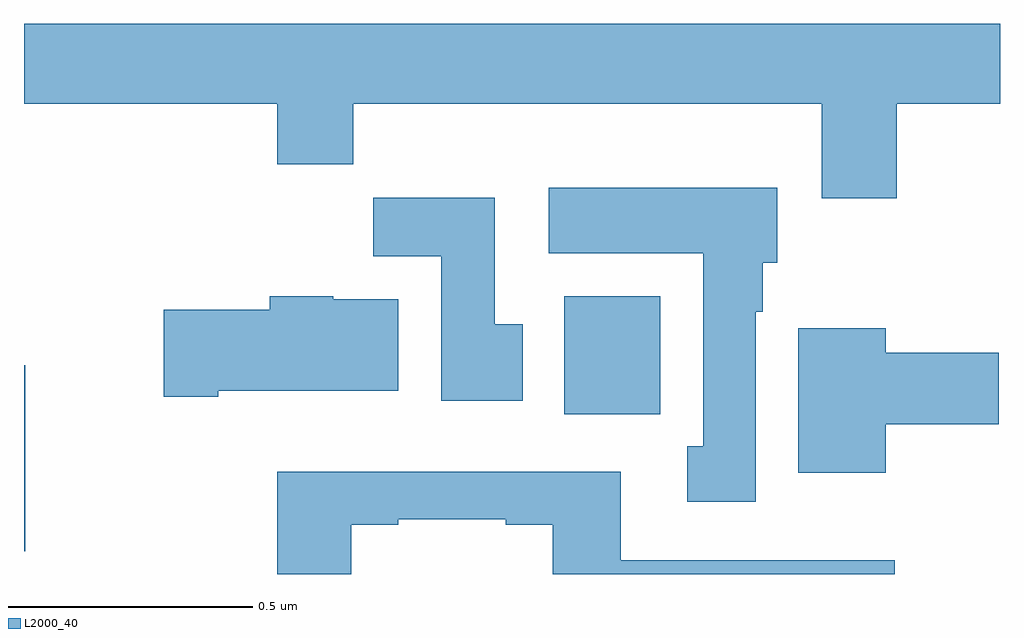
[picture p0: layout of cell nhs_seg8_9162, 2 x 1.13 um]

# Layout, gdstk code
import gdstk
lib = gdstk.Library(unit=1e-6, precision=1e-09)
def R(c, l, rs):  # rectangles x0, y0, x1, y1
    for r in rs: c.add(gdstk.rectangle(r[:2], r[2:], *l))
def P(c, l, *ps):  # polygons
    for p in ps: c.add(gdstk.Polygon(p, *l))
L2000_40 = (2000, 40)

nhs_seg8_9162 = lib.new_cell('nhs_seg8_9162')
R(nhs_seg8_9162, L2000_40, [(233,1084.947,233.003,1085.328), (234.107,1085.228,234.304,1085.47)])
P(nhs_seg8_9162, L2000_40, [(234.788,1085.864),(235,1085.864),(235,1086.028),(233,1086.028),(233,1085.864),(233.519,1085.864),(233.519,1085.74),(233.675,1085.74),(233.675,1085.864),(234.635,1085.864),(234.635,1085.67),(234.788,1085.67)],
  [(234.499,1085.438),(234.514,1085.438),(234.514,1085.538),(234.544,1085.538),(234.544,1085.692),(234.075,1085.692),(234.075,1085.558),(234.392,1085.558),(234.392,1085.162),(234.359,1085.162),(234.359,1085.049),(234.499,1085.049)],
  [(234.022,1085.412),(233.965,1085.412),(233.965,1085.671),(233.716,1085.671),(233.716,1085.552),(233.855,1085.552),(233.855,1085.256),(234.022,1085.256)],
  [(233.398,1085.276),(233.767,1085.276),(233.767,1085.464),(233.634,1085.464),(233.634,1085.47),(233.504,1085.47),(233.504,1085.442),(233.286,1085.442),(233.286,1085.264),(233.398,1085.264)],
  [(234.766,1085.207),(234.997,1085.207),(234.997,1085.354),(234.766,1085.354),(234.766,1085.404),(234.587,1085.404),(234.587,1085.108),(234.766,1085.108)],
  [(233.671,1085.001),(233.767,1085.001),(233.767,1085.013),(233.987,1085.013),(233.987,1085.001),(234.083,1085.001),(234.083,1084.9),(234.784,1084.9),(234.784,1084.929),(234.223,1084.929),(234.223,1085.11),(233.519,1085.11),(233.519,1084.9),(233.671,1084.9)])

lib.write_gds('nhs_seg8_9162.gds')
